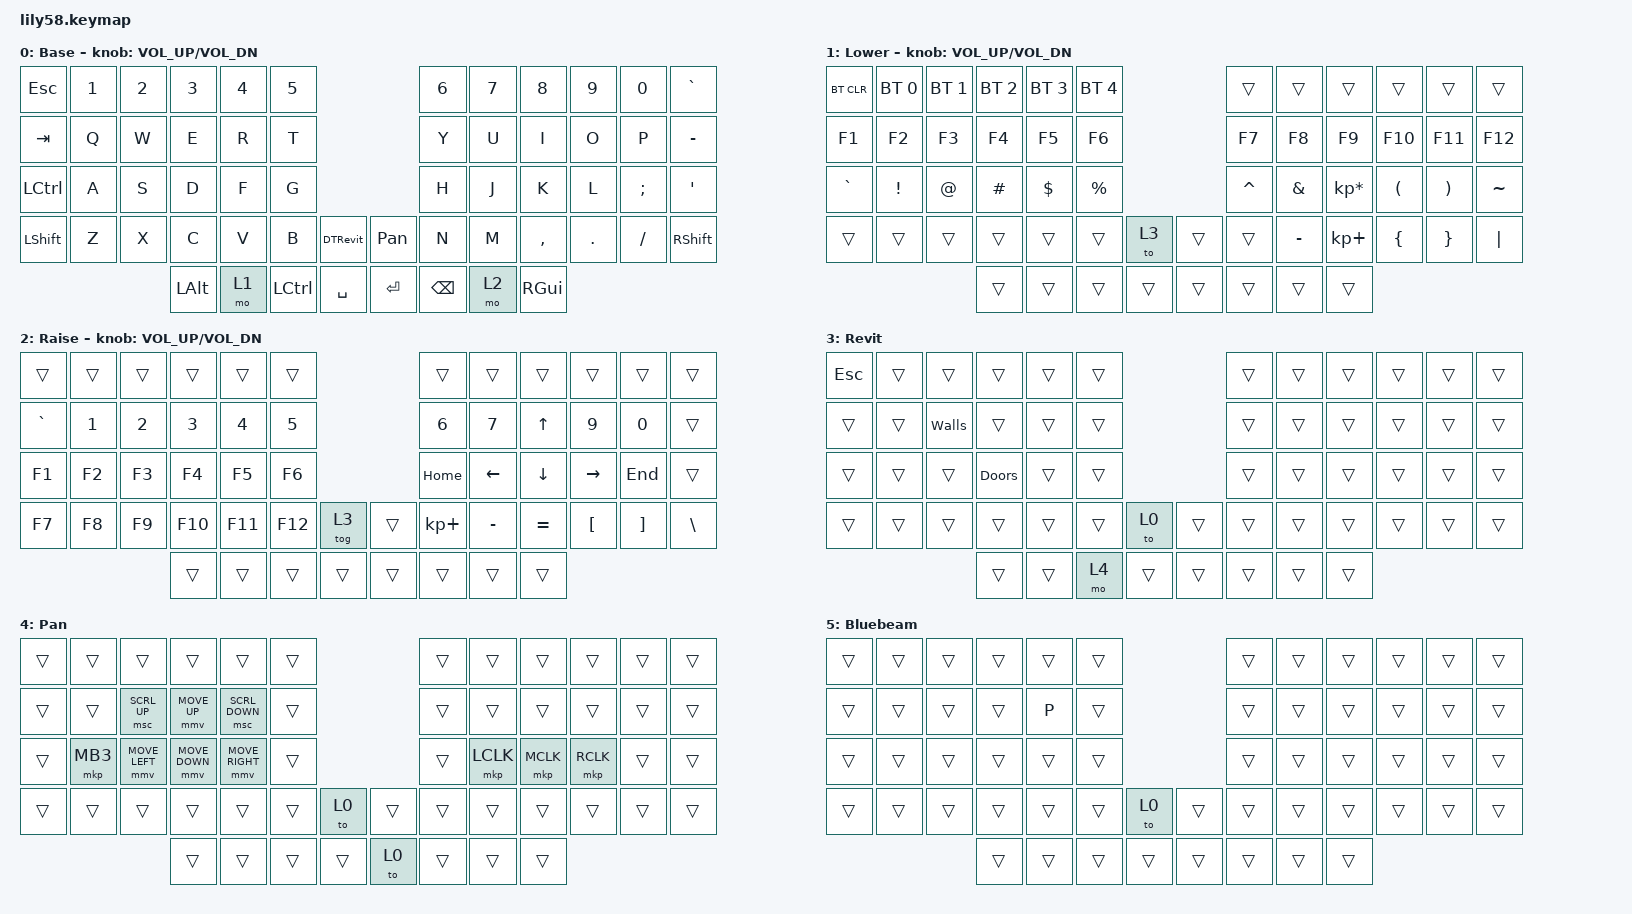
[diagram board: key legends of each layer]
/*
 * Copyright (c) 2020 The ZMK Contributors
 *
 * SPDX-License-Identifier: MIT
 */

#include <behaviors.dtsi>
#include <dt-bindings/zmk/bt.h>
#include <dt-bindings/zmk/keys.h>
#include <dt-bindings/zmk/pointing.h>

/ {
    behaviors {
        DTRevit: DTRevit {
            compatible = "zmk,behavior-tap-dance";
            label = "DTREVIT";
            #binding-cells = <0>;
            bindings = <&kp LEFT_BRACKET>, <&to 3>;

            tapping-term-ms = <300>;
        };

        Pan: Pan {
            compatible = "zmk,behavior-tap-dance";
            label = "PAN";
            #binding-cells = <0>;
            bindings = <&kp RIGHT_BRACKET>, <&to 4>;

            tapping-term-ms = <300>;
        };
    };

    macros {
        Walls: Walls {
            compatible = "zmk,behavior-macro";
            #binding-cells = <0>;
            bindings = <&kt W &kp A>;
            label = "Walls";
            wait-ms = <200>;
        };

        Doors: Doors {
            compatible = "zmk,behavior-macro";
            #binding-cells = <0>;
            bindings = <&kt D &kp R>;
            label = "DOORS";
            wait-ms = <200>;
        };

        Trim: Trim {
            compatible = "zmk,behavior-macro";
            #binding-cells = <0>;
            bindings = <&kp T &kp R>;
            label = "TRIM";
            wait-ms = <200>;
        };

        Dim: Dim {
            compatible = "zmk,behavior-macro";
            #binding-cells = <0>;
            bindings = <&kp D &kp I>;
            label = "DIM";
            wait-ms = <200>;
        };

        PanLeft: PanLeft {
            compatible = "zmk,behavior-macro";
            #binding-cells = <0>;
            bindings = <&mkp MB3 &mmv MOVE_LEFT>, <&macro_press>;

            label = "PANLEFT";
        };

        PanRight: PanRight {
            compatible = "zmk,behavior-macro";
            #binding-cells = <0>;
            bindings = <&macro_press>, <&mkp MB3 &mmv MOVE_RIGHT>;

            label = "PANRIGHT";
        };

        PanUp: PanUp {
            compatible = "zmk,behavior-macro";
            #binding-cells = <0>;
            bindings = <&macro_press>, <&mkp MB3 &mmv MOVE_UP>;

            label = "PANUP";
        };

        PanDN: PanDN {
            compatible = "zmk,behavior-macro";
            #binding-cells = <0>;
            bindings = <&macro_press>, <&mkp MB3 &mmv MOVE_DOWN>;

            label = "PANDN";
        };
    };

    keymap {
        compatible = "zmk,keymap";

        default_layer {
            // ------------------------------------------------------------------------------------------------------------
            // |  ESC  |  1  |  2  |  3   |  4   |  5   |                   |  6   |  7    |  8    |  9   |   0   |   `   |
            // |  TAB  |  Q  |  W  |  E   |  R   |  T   |                   |  Y   |  U    |  I    |  O   |   P   |   -   |
            // |  CTRL |  A  |  S  |  D   |  F   |  G   |                   |  H   |  J    |  K    |  L   |   ;   |   '   |
            // | SHIFT |  Z  |  X  |  C   |  V   |  B   |   "["  |  |  "]"  |  N   |  M    |  ,    |  .   |   /   | SHIFT |
            //                     | ALT  | GUI  | LOWER|  SPACE |  | ENTER | RAISE| BSPC  | GUI   |

            display-name = "Base";
            bindings = <
&kp ESC    &kp N1  &kp N2  &kp N3    &kp N4  &kp N5                           &kp N6         &kp N7  &kp N8     &kp N9   &kp N0    &kp GRAVE
&kp TAB    &kp Q   &kp W   &kp E     &kp R   &kp T                            &kp Y          &kp U   &kp I      &kp O    &kp P     &kp MINUS
&kp LCTRL  &kp A   &kp S   &kp D     &kp F   &kp G                            &kp H          &kp J   &kp K      &kp L    &kp SEMI  &kp SQT
&kp LSHFT  &kp Z   &kp X   &kp C     &kp V   &kp B      &DTRevit     &Pan     &kp N          &kp M   &kp COMMA  &kp DOT  &kp FSLH  &kp RSHFT
                           &kp LALT  &mo 1   &kp LCTRL  &kp SPACE    &kp RET  &kp BACKSPACE  &mo 2   &kp RGUI
            >;

            sensor-bindings = <&inc_dec_kp C_VOL_UP C_VOL_DN>;
        };

        lower_layer {
            // ------------------------------------------------------------------------------------------------------------
            // | BTCLR | BT1 | BT2 |  BT3 |  BT4 |  BT5 |                   |      |       |       |      |       |       |
            // |  F1   |  F2 |  F3 |  F4  |  F5  |  F6  |                   |  F7  |  F8   |  F9   |  F10 |  F11  |  F12  |
            // |   `   |  !  |  @  |  #   |  $   |  %   |                   |  ^   |  &    |  *    |  (   |   )   |   ~   |
            // |       |     |     |      |      |      |        |  |       |      |  _    |  +    |  {   |   }   |  "|"  |
            //                     |      |      |      |        |  |       |      |       |       |

            display-name = "Lower";
            bindings = <
&bt BT_CLR  &bt BT_SEL 0  &bt BT_SEL 1  &bt BT_SEL 2  &bt BT_SEL 3  &bt BT_SEL 4                    &trans     &trans     &trans           &trans    &trans    &trans
&kp F1      &kp F2        &kp F3        &kp F4        &kp F5        &kp F6                          &kp F7     &kp F8     &kp F9           &kp F10   &kp F11   &kp F12
&kp GRAVE   &kp EXCL      &kp AT        &kp HASH      &kp DOLLAR    &kp PRCNT                       &kp CARET  &kp AMPS   &kp KP_MULTIPLY  &kp LPAR  &kp RPAR  &kp TILDE
&trans      &trans        &trans        &trans        &trans        &trans        &to 3     &trans  &trans     &kp MINUS  &kp KP_PLUS      &kp LBRC  &kp RBRC  &kp PIPE
                                        &trans        &trans        &trans        &trans    &trans  &trans     &trans     &trans
            >;

            sensor-bindings = <&inc_dec_kp C_VOL_UP C_VOL_DN>;
        };

        raise_layer {
            // ------------------------------------------------------------------------------------------------------------
            // |       |     |     |      |      |      |                   |      |       |       |      |       |       |
            // |   `   |  1  |  2  |  3   |  4   |  5   |                   |  6   |   7   |   8   |  9   |   0   |       |
            // |   F1  |  F2 |  F3 |  F4  |  F5  |  F6  |                   |      |   <-  |   v   |  ^   |  ->   |       |
            // |   F7  |  F8 |  F9 |  F10 |  F11 |  F12 |        |  |       |  +   |   -   |   =   |  [   |   ]   |   \   |
            //                     |      |      |      |        |  |       |      |       |       |

            display-name = "Raise";
            bindings = <
&trans     &trans  &trans  &trans   &trans   &trans                     &trans       &trans     &trans        &trans           &trans    &trans
&kp GRAVE  &kp N1  &kp N2  &kp N3   &kp N4   &kp N5                     &kp N6       &kp N7     &kp UP_ARROW  &kp N9           &kp N0    &trans
&kp F1     &kp F2  &kp F3  &kp F4   &kp F5   &kp F6                     &kp HOME     &kp LEFT   &kp DOWN      &kp RIGHT_ARROW  &kp END   &trans
&kp F7     &kp F8  &kp F9  &kp F10  &kp F11  &kp F12  &tog 3    &trans  &kp KP_PLUS  &kp MINUS  &kp EQUAL     &kp LBKT         &kp RBKT  &kp BSLH
                           &trans   &trans   &trans   &trans    &trans  &trans       &trans     &trans
            >;

            sensor-bindings = <&inc_dec_kp C_VOL_UP C_VOL_DN>;
        };

        Revit {
            bindings = <
&kp ESC  &trans  &trans  &trans  &trans  &trans                    &trans  &trans  &trans  &trans  &trans  &trans
&trans   &trans  &Walls  &trans  &trans  &trans                    &trans  &trans  &trans  &trans  &trans  &trans
&trans   &trans  &trans  &Doors  &trans  &trans                    &trans  &trans  &trans  &trans  &trans  &trans
&trans   &trans  &trans  &trans  &trans  &trans  &to 0     &trans  &trans  &trans  &trans  &trans  &trans  &trans
                         &trans  &trans  &mo 4   &trans    &trans  &trans  &trans  &trans
            >;
        };

        Pan {
            bindings = <
&trans  &trans    &trans          &trans          &trans           &trans                    &trans  &trans     &trans     &trans     &trans  &trans
&trans  &trans    &msc SCRL_UP    &mmv MOVE_UP    &msc SCRL_DOWN   &trans                    &trans  &trans     &trans     &trans     &trans  &trans
&trans  &mkp MB3  &mmv MOVE_LEFT  &mmv MOVE_DOWN  &mmv MOVE_RIGHT  &trans                    &trans  &mkp LCLK  &mkp MCLK  &mkp RCLK  &trans  &trans
&trans  &trans    &trans          &trans          &trans           &trans  &to 0     &trans  &trans  &trans     &trans     &trans     &trans  &trans
                                  &trans          &trans           &trans  &trans    &to 0   &trans  &trans     &trans
            >;
        };

        Bluebeam {
            bindings = <
&trans  &trans  &trans  &trans  &trans  &trans                    &trans  &trans  &trans  &trans  &trans  &trans
&trans  &trans  &trans  &trans  &kp P   &trans                    &trans  &trans  &trans  &trans  &trans  &trans
&trans  &trans  &trans  &trans  &trans  &trans                    &trans  &trans  &trans  &trans  &trans  &trans
&trans  &trans  &trans  &trans  &trans  &trans  &to 0     &trans  &trans  &trans  &trans  &trans  &trans  &trans
                        &trans  &trans  &trans  &trans    &trans  &trans  &trans  &trans
            >;
        };
    };
};
